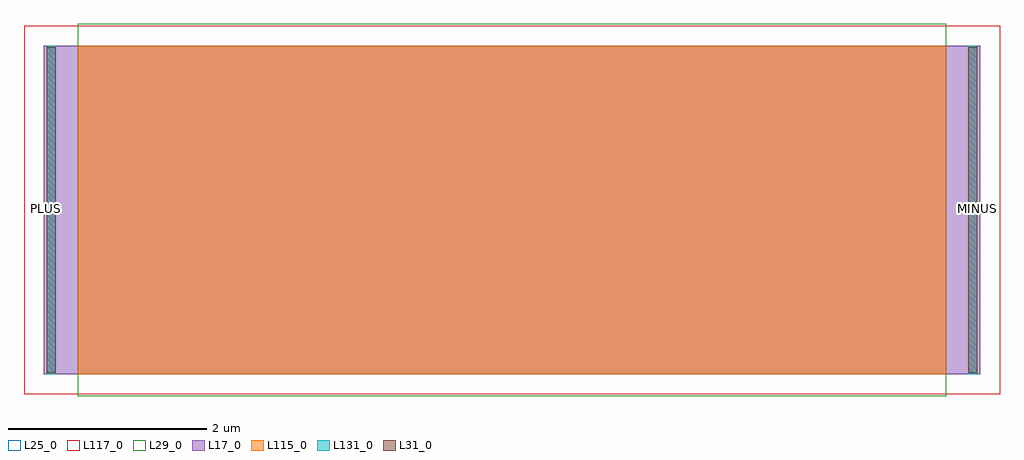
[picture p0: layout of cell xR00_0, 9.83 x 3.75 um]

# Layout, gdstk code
import gdstk
lib = gdstk.Library(unit=1e-6, precision=1e-09)
def R(c, l, rs):  # rectangles x0, y0, x1, y1
    for r in rs: c.add(gdstk.rectangle(r[:2], r[2:], *l))
L17_0 = (17, 0)
L25_0 = (25, 0)
L29_0 = (29, 0)
L31_0 = (31, 0)
L115_0 = (115, 0)
L117_0 = (117, 0)
L131_0 = (131, 0)

xr00_0 = lib.new_cell('xR00_0')
R(xr00_0, L17_0, [(0.2,0.22,9.63,3.53)])
R(xr00_0, L25_0, [(0,0.02,9.83,3.73)])
R(xr00_0, L29_0, [(0.54,0,9.29,3.75)])
R(xr00_0, L31_0, [(0.23,0.235,0.32,3.515), (9.51,0.235,9.6,3.515)])
R(xr00_0, L115_0, [(0.54,0.22,9.29,3.53)])
R(xr00_0, L117_0, [(0,0.02,9.83,3.73)])
R(xr00_0, L131_0, [(0.23,0.22,0.32,3.53), (9.51,0.22,9.6,3.53)])
xr00_0.add(gdstk.Label('PLUS', (0.23,1.89), layer=131, texttype=0))
xr00_0.add(gdstk.Label('MINUS', (9.6,1.89), layer=131, texttype=0))

lib.write_gds('xR00_0.gds')
